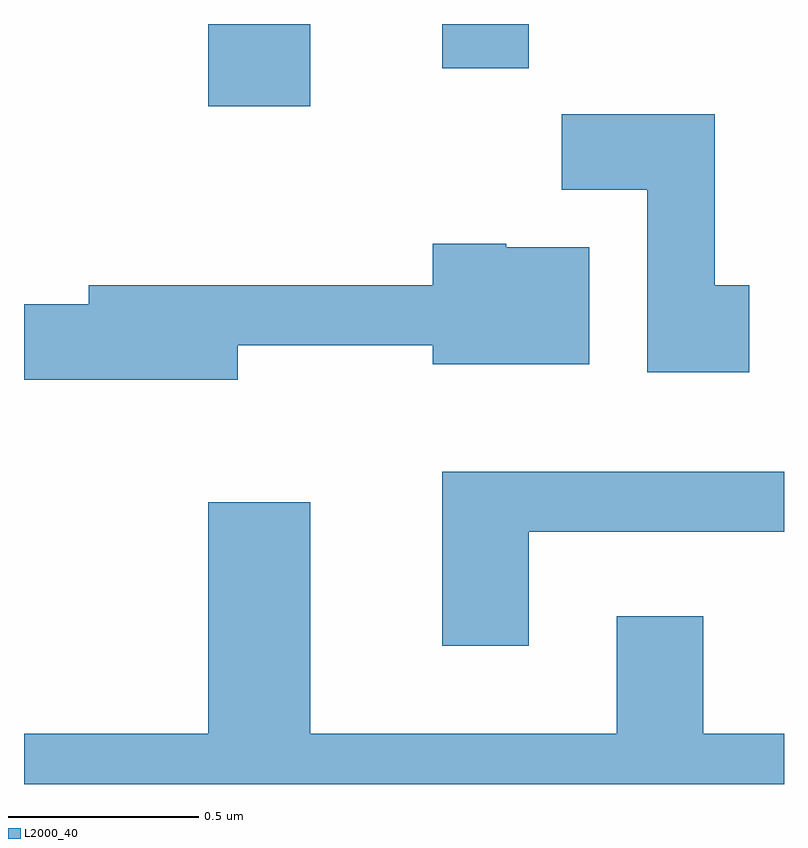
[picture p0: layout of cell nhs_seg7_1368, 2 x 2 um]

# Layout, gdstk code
import gdstk
lib = gdstk.Library(unit=1e-6, precision=1e-09)
def R(c, l, rs):  # rectangles x0, y0, x1, y1
    for r in rs: c.add(gdstk.rectangle(r[:2], r[2:], *l))
def P(c, l, *ps):  # polygons
    for p in ps: c.add(gdstk.Polygon(p, *l))
L2000_40 = (2000, 40)

nhs_seg7_1368 = lib.new_cell('nhs_seg7_1368')
R(nhs_seg7_1368, L2000_40, [(195.096,1805.036,195.364,1805.252), (195.711,1805.136,195.939,1805.252)])
P(nhs_seg7_1368, L2000_40, [(196.519,1804.564),(196.429,1804.564),(196.429,1805.014),(196.026,1805.014),(196.026,1804.816),(196.251,1804.816),(196.251,1804.336),(196.519,1804.336)],
  [(195.174,1804.406),(195.686,1804.406),(195.686,1804.356),(196.099,1804.356),(196.099,1804.664),(195.88,1804.664),(195.88,1804.674),(195.686,1804.674),(195.686,1804.564),(194.781,1804.564),(194.781,1804.514),(194.611,1804.514),(194.611,1804.316),(195.174,1804.316)],
  [(195.939,1803.916),(196.611,1803.916),(196.611,1804.074),(195.711,1804.074),(195.711,1803.616),(195.939,1803.616)],
  [(196.611,1803.384),(196.399,1803.384),(196.399,1803.694),(196.171,1803.694),(196.171,1803.384),(195.364,1803.384),(195.364,1803.994),(195.096,1803.994),(195.096,1803.384),(194.611,1803.384),(194.611,1803.252),(196.611,1803.252)])

lib.write_gds('nhs_seg7_1368.gds')
